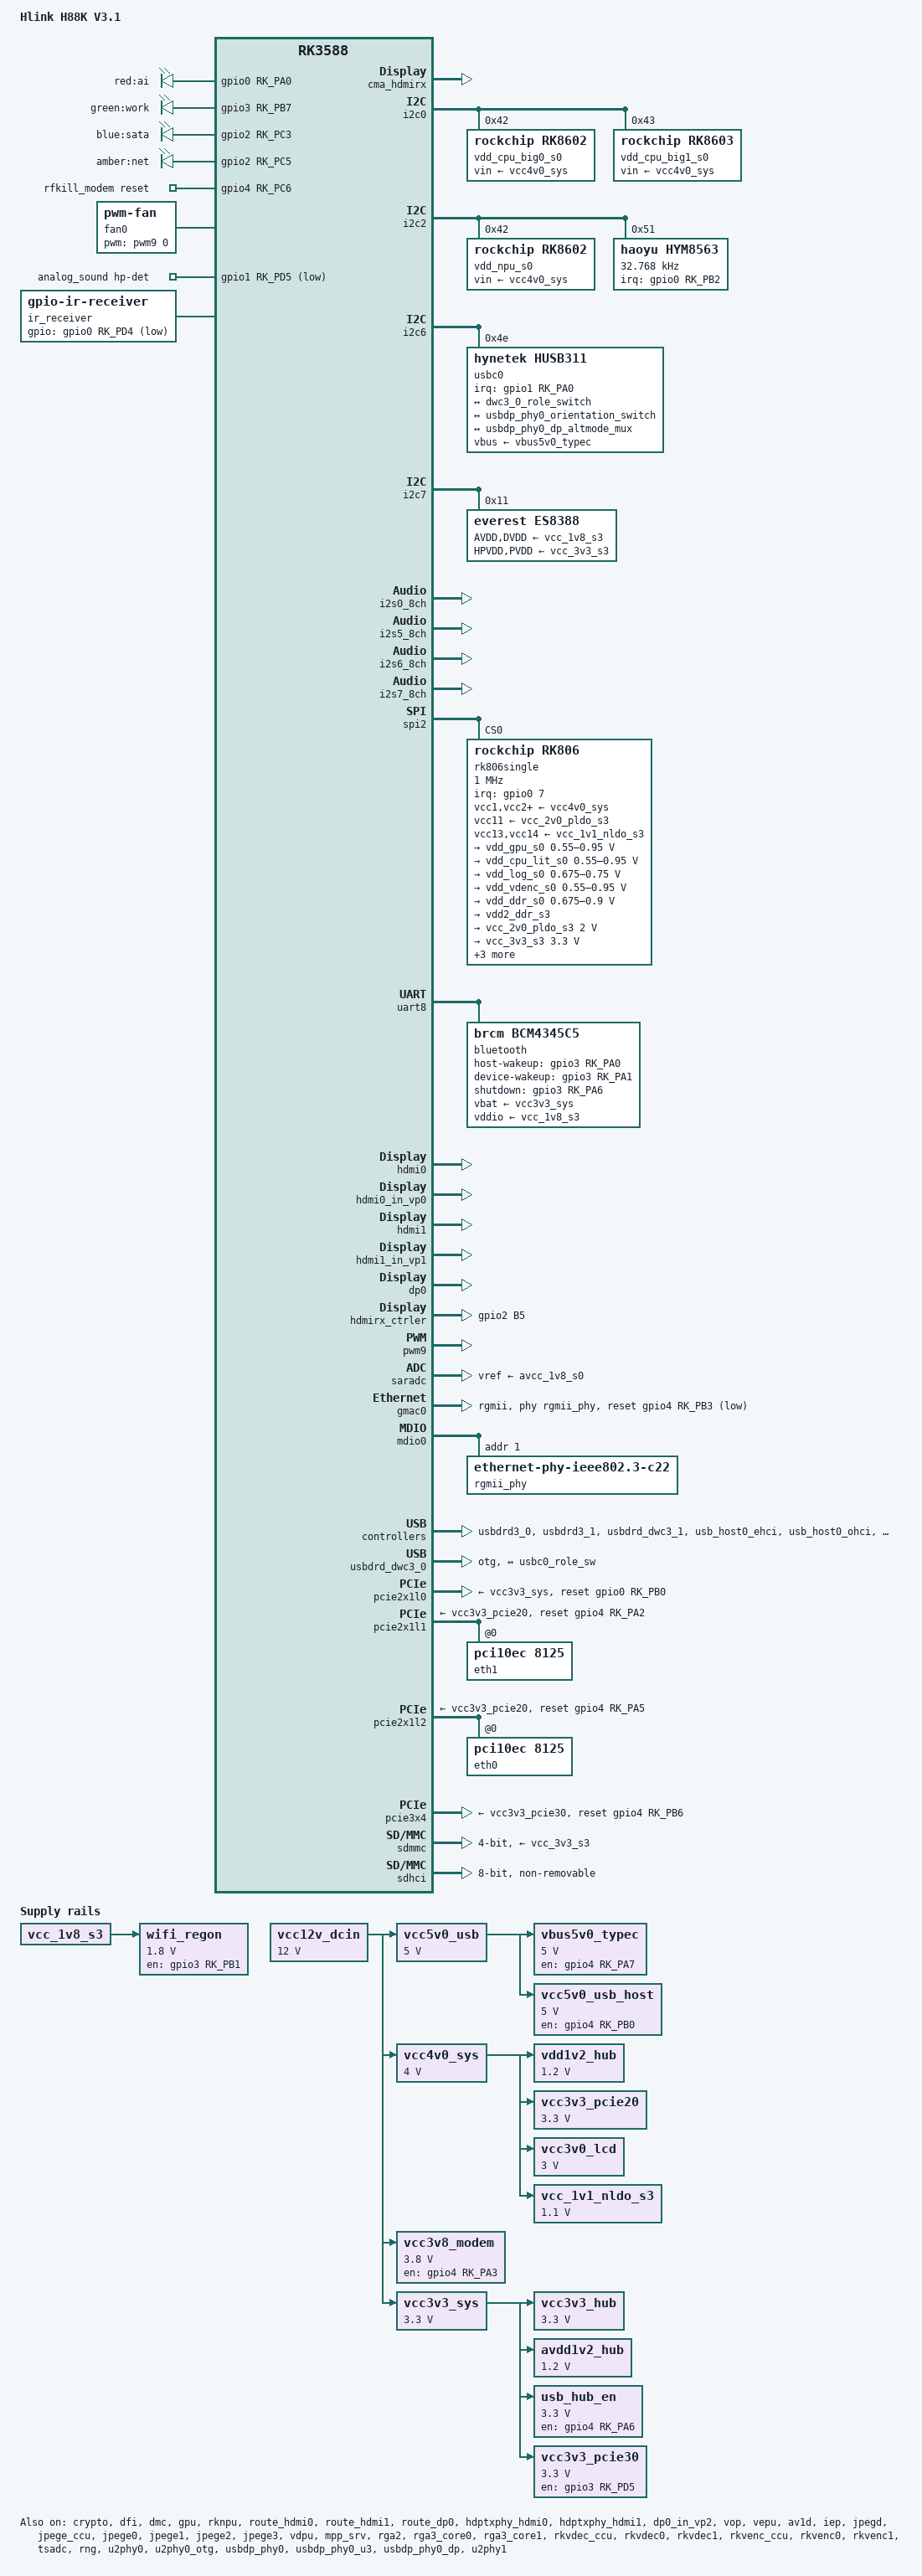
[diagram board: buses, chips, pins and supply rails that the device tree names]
// SPDX-License-Identifier: (GPL-2.0+ OR MIT)
// Copyright (c) 2024 Flippy <flippy@sina.com>

/dts-v1/;

#include <dt-bindings/gpio/gpio.h>
#include <dt-bindings/pinctrl/rockchip.h>
#include <dt-bindings/input/rk-input.h>
#include <dt-bindings/pwm/pwm.h>
#include <dt-bindings/display/drm_mipi_dsi.h>
#include <dt-bindings/display/rockchip_vop.h>
#include <dt-bindings/sensor-dev.h>
#include <dt-bindings/leds/common.h>
#include "dt-bindings/usb/pd.h"
#include "rk3588.dtsi"
#include "rk3588-gpio-line-names.dtsi"

/ {
	model = "Hlink H88K V3.1";
	compatible = "hlink,h88k-v31", "hlink,h88k-v3", "rockchip,rk3588";

	aliases {
		mmc0 = &sdmmc;
		mmc1 = &sdhci;
		mmc2 = &sdio;
		rtc0 = &hym8563;
	};

	cspmu: cspmu@fd10c000 {
		compatible = "rockchip,cspmu";
		reg = <0x0 0xfd10c000 0x0 0x1000>,
		      <0x0 0xfd10d000 0x0 0x1000>,
		      <0x0 0xfd10e000 0x0 0x1000>,
		      <0x0 0xfd10f000 0x0 0x1000>,
		      <0x0 0xfd12c000 0x0 0x1000>,
		      <0x0 0xfd12d000 0x0 0x1000>,
		      <0x0 0xfd12e000 0x0 0x1000>,
		      <0x0 0xfd12f000 0x0 0x1000>;
	};

	debug: debug@fd104000 {
		compatible = "rockchip,debug";
		reg = <0x0 0xfd104000 0x0 0x1000>,
		      <0x0 0xfd105000 0x0 0x1000>,
		      <0x0 0xfd106000 0x0 0x1000>,
		      <0x0 0xfd107000 0x0 0x1000>,
		      <0x0 0xfd124000 0x0 0x1000>,
		      <0x0 0xfd125000 0x0 0x1000>,
		      <0x0 0xfd126000 0x0 0x1000>,
		      <0x0 0xfd127000 0x0 0x1000>;
	};

	fiq_debugger: fiq-debugger {
		compatible = "rockchip,fiq-debugger";
		rockchip,serial-id = <2>;
		rockchip,wake-irq = <0>;
		/* If enable uart uses irq instead of fiq */
		rockchip,irq-mode-enable = <1>;
		rockchip,baudrate = <1500000>;  /* Only 115200 and 1500000 */
		interrupts = <GIC_SPI 423 IRQ_TYPE_LEVEL_LOW>;
		pinctrl-names = "default";
		pinctrl-0 = <&uart2m0_xfer>;
		status = "okay";
	};

	firmware: firmware {
		optee: optee {
			compatible = "linaro,optee-tz";
			method = "smc";
		};
	};

	gpio_leds: gpio-leds {
		compatible = "gpio-leds";
		pinctrl-names = "default";
		pinctrl-0 = <&led_red_ai_pin>,
		            <&led_green_work_pin>,
		            <&led_blue_sata_pin>,
		            <&led_amber_net_pin>;

		led_red_ai: led-red-ai {
			label = "red:ai";
			gpios = <&gpio0 RK_PA0 GPIO_ACTIVE_HIGH>;
		};

		led_green_work: led-green-work {
			label = "green:work";
			gpios = <&gpio3 RK_PB7 GPIO_ACTIVE_HIGH>;
			linux,default-trigger = "heartbeat";
		};

		led_blue_sata: led-blue-sata {
			label = "blue:sata";
			gpios = <&gpio2 RK_PC3 GPIO_ACTIVE_HIGH>;
		};

		led_amber_net: led-amber-net {
			label = "amber:net";
			gpios = <&gpio2 RK_PC5 GPIO_ACTIVE_HIGH>;
		};
	};

	reserved_memory: reserved-memory {
		#address-cells = <2>;
		#size-cells = <2>;
		ranges;

		cma: cma {
			compatible = "shared-dma-pool";
			reusable;
			size = <0x0 (256 * 0x100000)>;
			linux,cma-default;
		};

		drm_logo: drm-logo@00000000 {
			compatible = "rockchip,drm-logo";
			reg = <0x0 0x0 0x0 0x0>;
		};

		drm_cubic_lut: drm-cubic-lut@00000000 {
			compatible = "rockchip,drm-cubic-lut";
			reg = <0x0 0x0 0x0 0x0>;
		};

		ramoops: ramoops@110000 {
			compatible = "ramoops";
			reg = <0x0 0x110000 0x0 0xf0000>;
			record-size = <0x20000>;
			console-size = <0x80000>;
			ftrace-size = <0x00000>;
			pmsg-size = <0x50000>;
		};

		/* Reserve 256MB memory for hdmirx-controller@fdee0000
		 * remove the node if hdmirx is disabled 
		 */
		cma_hdmirx: cma-hdmirx {
			compatible = "shared-dma-pool";
			reusable;
			size = <0x0 (256 * 0x100000)>;
		};
	};

	rfkill_modem: rfkill-modem {
		compatible = "rfkill-gpio";
		name = "rfkill-modem";
		pinctrl-names = "default";
		pinctrl-0 = <&modem_reset_pin>;
		reset-gpios = <&gpio4 RK_PC6 GPIO_ACTIVE_HIGH>;
		type = "wwan";
	};

	/* dc-in or typec-in: maximum supported voltage: 22V */
	vcc12v_dcin: vcc12v-dcin {
		compatible = "regulator-fixed";
		regulator-name = "vcc12v_dcin";
		regulator-always-on;
		regulator-boot-on;
		regulator-min-microvolt = <12000000>;
		regulator-max-microvolt = <12000000>;
	};

	/* 5v0 usb: maximum load current 6A */
	vcc5v0_usb: vcc5v0-usb {
		compatible = "regulator-fixed";
		regulator-name = "vcc5v0_usb";
		regulator-always-on;
		regulator-boot-on;
		regulator-min-microvolt = <5000000>;
		regulator-max-microvolt = <5000000>;
		vin-supply = <&vcc12v_dcin>;
	};

	vbus5v0_typec: vbus5v0-typec {
		compatible = "regulator-fixed";
		regulator-name = "vbus5v0_typec";
		regulator-min-microvolt = <5000000>;
		regulator-max-microvolt = <5000000>;
		regulator-boot-on;
		enable-active-high;
		gpio = <&gpio4 RK_PA7 GPIO_ACTIVE_HIGH>;
		pinctrl-names = "default";
		pinctrl-0 = <&vbus5v0_typec_en>;
		vin-supply = <&vcc5v0_usb>;
	};

	vcc5v0_usb_host: vcc5v0-usb-host {
		compatible = "regulator-fixed";
		regulator-name = "vcc5v0_usb_host";
		regulator-min-microvolt = <5000000>;
		regulator-max-microvolt = <5000000>;
		enable-active-high;
		gpio = <&gpio4 RK_PB0 GPIO_ACTIVE_HIGH>;
		pinctrl-names = "default";
		pinctrl-0 = <&vcc5v0_usb_host_en>;
		vin-supply = <&vcc5v0_usb>;
	};

	/* 4v0 sys: maximum load current 6A */
	vcc4v0_sys: vcc4v0-sys {
		compatible = "regulator-fixed";
		regulator-name = "vcc4v0_sys";
		regulator-always-on;
		regulator-boot-on;
		regulator-min-microvolt = <4000000>;
		regulator-max-microvolt = <4000000>;
		startup-delay-us = <100000>;
		vin-supply = <&vcc12v_dcin>;
	};

	vcc3v8_modem: vcc3v8-modem {
		compatible = "regulator-fixed";
		enable-active-high;
		regulator-always-on;
		regulator-boot-on;
		gpios = <&gpio4 RK_PA3 GPIO_ACTIVE_HIGH>;
		regulator-min-microvolt = <3800000>;
		regulator-max-microvolt = <3800000>;
		regulator-name = "vcc3v8_modem";
		pinctrl-names = "default";
		pintctrl-0 = <&vcc3v8_modem_pwren>;
		vin-supply = <&vcc12v_dcin>;
	};

	/* 
	 * 3v3 sys:
	 * supply by dc in, but enabled by vcc4v0 sys
	 * maximum load current 6A
	 */
	vcc3v3_sys: vcc3v3-sys {
		compatible = "regulator-fixed";
		regulator-name = "vcc3v3_sys";
		regulator-always-on;
		regulator-boot-on;
		regulator-min-microvolt = <3300000>;
		regulator-max-microvolt = <3300000>;
		startup-delay-us = <100000>;
		vin-supply = <&vcc12v_dcin>;
	};

	/* 
	 * vcc3v3 hub
	 */
	vcc3v3_hub: vcc3v3-hub {
		compatible = "regulator-fixed";
		regulator-name = "vcc3v3_hub";
		regulator-always-on;
		regulator-boot-on;
		regulator-min-microvolt = <3300000>;
		regulator-max-microvolt = <3300000>;
		vin-supply = <&vcc3v3_sys>;
	};

	/*
	 * vdd1v2_hub:
	 * DC-DC 1.2V for GL3523 USB HUB
	 * maximum load current 0.6A
	 */
	vdd1v2_hub: vdd1v2-hub {
		compatible = "regulator-fixed";
		regulator-name = "vdd1v2_hub";
		regulator-always-on;
		regulator-boot-on;
		regulator-min-microvolt = <1200000>;
		regulator-max-microvolt = <1200000>;
		vin-supply = <&vcc4v0_sys>;
	};

	/* avdd1v2_hub:
	 * LDO 1.2V for GL3523 USB HUB
	 */
	avdd1v2_hub: avdd1v2-hub {
		compatible = "regulator-fixed";
		regulator-name = "avdd1v2_hub";
		regulator-always-on;
		regulator-boot-on;
		regulator-min-microvolt = <1200000>;
		regulator-max-microvolt = <1200000>;
		vin-supply = <&vcc3v3_sys>;
	};

	/* Actually, pull the reset pin of the USB hub high */
	usb_hub_en: usb-hub-en {
		compatible = "regulator-fixed";
		enable-active-high;
		pinctrl-names = "default";
		pintctrl-0 = <&usb_hub_rst_pin>;
		gpio = <&gpio4 RK_PA6 GPIO_ACTIVE_HIGH>;
		regulator-boot-on;
		regulator-always-on;
		regulator-min-microvolt = <3300000>;
		regulator-max-microvolt = <3300000>;
		regulator-name = "usb-hub-en";
		startup-delay-us = <50000>;
		vin-supply = <&vcc3v3_sys>;
	};

	vcc3v3_pcie20: vcc3v3-pcie20 {
		compatible = "regulator-fixed";
		regulator-name = "vcc3v3_pcie20";
		regulator-min-microvolt = <3300000>;
		regulator-max-microvolt = <3300000>;
		regulator-always-on;
		regulator-boot-on;
		vin-supply = <&vcc4v0_sys>;
	};

	vcc3v3_pcie30: vcc3v3-pcie30 {
		compatible = "regulator-fixed";
		regulator-name = "vcc3v3_pcie30";
		regulator-min-microvolt = <3300000>;
		regulator-max-microvolt = <3300000>;
		enable-active-high;
		gpios = <&gpio3 RK_PD5 GPIO_ACTIVE_HIGH>;
		startup-delay-us = <100000>;
		vin-supply = <&vcc3v3_sys>;
	};

	vcc3v0_lcd: vcc3v0-lcd {
		compatible = "regulator-fixed";
		regulator-name = "vcc3v0_lcd";
		regulator-always-on;
		regulator-boot-on;
		regulator-min-microvolt = <3000000>;
		regulator-max-microvolt = <3000000>;
		vin-supply = <&vcc4v0_sys>;
	};

	vcc_1v1_nldo_s3: vcc-1v1-nldo-s3 {
		compatible = "regulator-fixed";
		regulator-name = "vcc_1v1_nldo_s3";
		regulator-always-on;
		regulator-boot-on;
		regulator-min-microvolt = <1100000>;
		regulator-max-microvolt = <1100000>;
		vin-supply = <&vcc4v0_sys>;
	};

	/* wifi regon support some wifi modules like rtl8723be */
	wifi_regon: wifi-regon {
		compatible = "regulator-fixed";
		enable-active-high;
		gpio = <&gpio3 RK_PB1 GPIO_ACTIVE_HIGH>;
		regulator-boot-on;
		regulator-always-on;
		regulator-min-microvolt = <1800000>;
		regulator-max-microvolt = <1800000>;
		regulator-name = "wifi_regon";
		startup-delay-us = <5000>;
		vin-supply = <&vcc_1v8_s3>;
	};

	fan0: pwm-fan {
		compatible = "pwm-fan";
		#cooling-cells = <2>;
		cooling-levels = <0 64 128 192 255>;
		pwms = <&pwm9 0 50000 0>;
	};

	analog_sound: analog-sound {
		status = "okay";
		compatible = "simple-audio-card";
		pinctrl-names = "default";
		pinctrl-0 = <&hp_detect>;
		simple-audio-card,bitclock-master = <&masterdai>;
		simple-audio-card,format = "i2s";
		simple-audio-card,frame-master = <&masterdai>;
		simple-audio-card,hp-det-gpio = <&gpio1 RK_PD5 GPIO_ACTIVE_LOW>;
		simple-audio-card,mclk-fs = <256>;
		simple-audio-card,name = "audio-analog";
		simple-audio-card,pin-switches = "Headphones";
		simple-audio-card,widgets =
			"Microphone", "Microphone Jack",
			"Headphone", "Headphones";

		simple-audio-card,cpu {
			sound-dai = <&i2s0_8ch>;
		};

		masterdai: simple-audio-card,codec {
			sound-dai = <&es8388>;
			system-clock-frequency = <12288000>;
		};
	};

	hdmi0_sound: hdmi0-sound {
		status = "okay";
		compatible = "rockchip,hdmi";
		rockchip,mclk-fs = <128>;
		rockchip,card-name = "audio-hdmi0";
		rockchip,cpu = <&i2s5_8ch>;
		rockchip,codec = <&hdmi0>;
		rockchip,jack-det;
	};

	hdmi1_sound: hdmi1-sound {
		status = "okay";
		compatible = "rockchip,hdmi";
		rockchip,mclk-fs = <128>;
		rockchip,card-name = "audio-hdmi1";
		rockchip,cpu = <&i2s6_8ch>;
		rockchip,codec = <&hdmi1>;
		rockchip,jack-det;
	};

	dp0_sound: dp0-sound {
		status = "okay";
		compatible = "rockchip,hdmi";
		rockchip,card-name= "audio-dp0";
		rockchip,mclk-fs = <512>;
		rockchip,cpu = <&spdif_tx2>;
		rockchip,codec = <&dp0 1>;
		rockchip,jack-det;
	};

	hdmiin_sound: hdmiin-sound {
		compatible = "rockchip,hdmi";
		rockchip,mclk-fs = <128>;
		rockchip,format = "i2s";
		rockchip,bitclock-master = <&hdmirx_ctrler>;
		rockchip,frame-master = <&hdmirx_ctrler>;
		rockchip,card-name = "audio-hdmiin";
		rockchip,cpu = <&i2s7_8ch>;
		rockchip,codec = <&hdmirx_ctrler 0>;
		rockchip,jack-det;
	};

	ir_receiver: ir-receiver {
		compatible = "gpio-ir-receiver";
		gpios = <&gpio0 RK_PD4 GPIO_ACTIVE_LOW>;
		pinctrl-0 = <&ir_int_pin>;
		pinctrl-names = "default";
	};
};

&cpu_l0 {
	cpu-supply = <&vdd_cpu_lit_s0>;
	mem-supply = <&vdd_cpu_lit_mem_s0>;
};

&cpu_b0 {
	cpu-supply = <&vdd_cpu_big0_s0>;
	mem-supply = <&vdd_cpu_big0_mem_s0>;
};

&cpu_b2 {
	cpu-supply = <&vdd_cpu_big1_s0>;
	mem-supply = <&vdd_cpu_big1_mem_s0>;
};

&crypto {
	status = "okay";
};

&dfi {
	status = "okay";
};

&dmc {
	center-supply = <&vdd_ddr_s0>;
	mem-supply = <&vdd_log_s0>;
	status = "okay";
};

&gpu {
	mali-supply = <&vdd_gpu_s0>;
	mem-supply = <&vdd_gpu_mem_s0>;
	status = "okay";
};

&rknpu {
	rknpu-supply = <&vdd_npu_s0>;
	mem-supply = <&vdd_npu_mem_s0>;
	status = "okay";
};

&rknpu_mmu {
	status = "okay";
};

&i2c0 {
	pinctrl-names = "default";
	pinctrl-0 = <&i2c0m2_xfer>;
	status = "okay";

	vdd_cpu_big0_s0: vdd_cpu_big0_mem_s0: rk8602@42 {
		compatible = "rockchip,rk8602";
		reg = <0x42>;
		regulator-always-on;
		regulator-boot-on;
		regulator-compatible = "rk860x-reg";
		regulator-min-microvolt = <550000>;
		regulator-max-microvolt = <1050000>;
		regulator-name = "vdd_cpu_big0_s0";
		regulator-ramp-delay = <2300>;
		rockchip,suspend-voltage-selector = <1>;
		vin-supply = <&vcc4v0_sys>;

		regulator-state-mem {
			regulator-off-in-suspend;
		};
	};

	vdd_cpu_big1_s0: vdd_cpu_big1_mem_s0: rk8603@43 {
		compatible = "rockchip,rk8603";
		reg = <0x43>;
		regulator-always-on;
		regulator-boot-on;
		regulator-compatible = "rk860x-reg";
		regulator-min-microvolt = <550000>;
		regulator-max-microvolt = <1050000>;
		regulator-name = "vdd_cpu_big1_s0";
		regulator-ramp-delay = <2300>;
		rockchip,suspend-voltage-selector = <1>;
		vin-supply = <&vcc4v0_sys>;

		regulator-state-mem {
			regulator-off-in-suspend;
		};
	};
};

&i2c2 {
	status = "okay";

	vdd_npu_s0: vdd_npu_mem_s0: rk8602@42 {
		compatible = "rockchip,rk8602";
		reg = <0x42>;
		regulator-always-on;
		regulator-boot-on;
		regulator-compatible = "rk860x-reg";
		regulator-min-microvolt = <550000>;
		regulator-max-microvolt = <950000>;
		regulator-name = "vdd_npu_s0";
		regulator-ramp-delay = <2300>;
		rockchip,suspend-voltage-selector = <1>;
		vin-supply = <&vcc4v0_sys>;

		regulator-state-mem {
			regulator-off-in-suspend;
		};
	};

	hym8563: hym8563@51 {
		compatible = "haoyu,hym8563";
		reg = <0x51>;
		#clock-cells = <0>;
		clock-frequency = <32768>;
		clock-output-names = "hym8563";
		interrupt-parent = <&gpio0>;
		interrupts = <RK_PB2 IRQ_TYPE_LEVEL_LOW>;
		pinctrl-names = "default";
		pinctrl-0 = <&rtc_int>;
		wakeup-source;
	};
};

&i2c6 {
	status = "okay";

	usbc0: husb311@4e {
		status = "okay";
		compatible = "hynetek,husb311";
		reg = <0x4e>;
		interrupt-parent = <&gpio1>;
		interrupts = <RK_PA0 IRQ_TYPE_LEVEL_LOW>;
		pinctrl-names = "default";
		pinctrl-0 = <&usbc0_int>;
		vbus-supply = <&vbus5v0_typec>;

		ports {
			#address-cells = <1>;
			#size-cells = <0>;

			port@0 {
				reg = <0>;
				usbc0_role_sw: endpoint@0 {
					remote-endpoint = <&dwc3_0_role_switch>;
				};
			};
		};

		usb_con: connector {
			compatible = "usb-c-connector";
			label = "USB-C";
			data-role = "dual";
			power-role = "dual";
			try-power-role = "sink";
			op-sink-microwatt = <1000000>;
			sink-pdos =
				<PDO_FIXED(5000, 3000, PDO_FIXED_USB_COMM)>;
			source-pdos =
				<PDO_FIXED(5000, 3000, PDO_FIXED_USB_COMM)>;

			altmodes {
				#address-cells = <1>;
				#size-cells = <0>;

				altmode@0 {
					reg = <0>;
					svid = <0xff01>;
					vdo = <0xffffffff>;
				};
			};

			ports {
				#address-cells = <1>;
				#size-cells = <0>;

				port@0 {
					reg = <0>;
					usbc0_orien_sw: endpoint {
						remote-endpoint = <&usbdp_phy0_orientation_switch>;
					};
				};

				port@1 {
					reg = <1>;
					dp_altmode_mux: endpoint {
						remote-endpoint = <&usbdp_phy0_dp_altmode_mux>;
					};
				};
			};
		};
	};
};

&i2c7 {
	status = "okay";

	es8388: audio-codec@11 {
		compatible = "everest,es8388";
		reg = <0x11>;
		clocks = <&cru I2S0_8CH_MCLKOUT>;
		assigned-clocks = <&cru I2S0_8CH_MCLKOUT>;
		assigned-clock-rates = <12288000>;
		AVDD-supply = <&vcc_1v8_s3>;
		DVDD-supply = <&vcc_1v8_s3>;
		HPVDD-supply = <&vcc_3v3_s3>;
		PVDD-supply = <&vcc_3v3_s3>;
		#sound-dai-cells = <0>;
	};
};

&i2s0_8ch {
	pinctrl-names = "default";
	pinctrl-0 = <&i2s0_lrck
		     &i2s0_mclk
		     &i2s0_sclk
		     &i2s0_sdi0
		     &i2s0_sdo0>;
	rockchip,playback-channels = <2>;
	rockchip,capture-channels = <2>;
	#sound-dai-cells = <0>;
	status = "okay";
};

&i2s5_8ch {
	status = "okay";
};

&i2s6_8ch {
	status = "okay";
};

&i2s7_8ch {
	status = "okay";
};

&spi2 {
	status = "okay";
	assigned-clocks = <&cru CLK_SPI2>;
	assigned-clock-rates = <200000000>;
	pinctrl-names = "default";
	pinctrl-0 = <&spi2m2_cs0 &spi2m2_pins>;
	num-cs = <1>;

	rk806single: rk806single@0 {
		compatible = "rockchip,rk806";
		spi-max-frequency = <1000000>;
		reg = <0x0>;

		interrupt-parent = <&gpio0>;
		interrupts = <7 IRQ_TYPE_LEVEL_LOW>;

		pinctrl-names = "default", "pmic-power-off";
		pinctrl-0 = <&pmic_pins>, <&rk806_dvs1_null>, <&rk806_dvs2_null>, <&rk806_dvs3_null>;
		pinctrl-1 = <&rk806_dvs1_pwrdn>;

		/* 2800mv-3500mv */
		low_voltage_threshold = <3000>;
		/* 2700mv-3400mv */
		shutdown_voltage_threshold = <2700>;
		/* 140 160 */
		shutdown_temperture_threshold = <160>;
		hotdie_temperture_threshold = <115>;

		/* 0: restart PMU;
		 * 1: reset all the power off reset registers,
		 *    forcing the state to switch to ACTIVE mode;
		 * 2: Reset all the power off reset registers,
		 *    forcing the state to switch to ACTIVE mode,
		 *    and simultaneously pull down the RESETB PIN for 5mS before releasing
		 */
		pmic-reset-func = <1>;

		vcc1-supply = <&vcc4v0_sys>;
		vcc2-supply = <&vcc4v0_sys>;
		vcc3-supply = <&vcc4v0_sys>;
		vcc4-supply = <&vcc4v0_sys>;
		vcc5-supply = <&vcc4v0_sys>;
		vcc6-supply = <&vcc4v0_sys>;
		vcc7-supply = <&vcc4v0_sys>;
		vcc8-supply = <&vcc4v0_sys>;
		vcc9-supply = <&vcc4v0_sys>;
		vcc10-supply = <&vcc4v0_sys>;
		vcc11-supply = <&vcc_2v0_pldo_s3>;
		vcc12-supply = <&vcc4v0_sys>;
		vcc13-supply = <&vcc_1v1_nldo_s3>;
		vcc14-supply = <&vcc_1v1_nldo_s3>;
		vcca-supply = <&vcc4v0_sys>;

		pwrkey {
			status = "okay";
		};

		pinctrl_rk806: pinctrl_rk806 {
			gpio-controller;
			#gpio-cells = <2>;

			rk806_dvs1_null: rk806_dvs1_null {
				pins = "gpio_pwrctrl1";
				function = "pin_fun0";
			};

			rk806_dvs1_slp: rk806_dvs1_slp {
				pins = "gpio_pwrctrl1";
				function = "pin_fun1";
			};

			rk806_dvs1_pwrdn: rk806_dvs1_pwrdn {
				pins = "gpio_pwrctrl1";
				function = "pin_fun2";
			};

			rk806_dvs1_rst: rk806_dvs1_rst {
				pins = "gpio_pwrctrl1";
				function = "pin_fun3";
			};

			rk806_dvs2_null: rk806_dvs2_null {
				pins = "gpio_pwrctrl2";
				function = "pin_fun0";
			};

			rk806_dvs2_slp: rk806_dvs2_slp {
				pins = "gpio_pwrctrl2";
				function = "pin_fun1";
			};

			rk806_dvs2_pwrdn: rk806_dvs2_pwrdn {
				pins = "gpio_pwrctrl2";
				function = "pin_fun2";
			};

			rk806_dvs2_rst: rk806_dvs2_rst {
				pins = "gpio_pwrctrl2";
				function = "pin_fun3";
			};

			rk806_dvs2_dvs: rk806_dvs2_dvs {
				pins = "gpio_pwrctrl2";
				function = "pin_fun4";
			};

			rk806_dvs2_gpio: rk806_dvs2_gpio {
				pins = "gpio_pwrctrl2";
				function = "pin_fun5";
			};

			rk806_dvs3_null: rk806_dvs3_null {
				pins = "gpio_pwrctrl3";
				function = "pin_fun0";
			};

			rk806_dvs3_slp: rk806_dvs3_slp {
				pins = "gpio_pwrctrl3";
				function = "pin_fun1";
			};

			rk806_dvs3_pwrdn: rk806_dvs3_pwrdn {
				pins = "gpio_pwrctrl3";
				function = "pin_fun2";
			};

			rk806_dvs3_rst: rk806_dvs3_rst {
				pins = "gpio_pwrctrl3";
				function = "pin_fun3";
			};

			rk806_dvs3_dvs: rk806_dvs3_dvs {
				pins = "gpio_pwrctrl3";
				function = "pin_fun4";
			};

			rk806_dvs3_gpio: rk806_dvs3_gpio {
				pins = "gpio_pwrctrl3";
				function = "pin_fun5";
			};
		};

		regulators {
			vdd_gpu_s0: vdd_gpu_mem_s0: DCDC_REG1 {
				regulator-boot-on;
				regulator-min-microvolt = <550000>;
				regulator-max-microvolt = <950000>;
				regulator-ramp-delay = <12500>;
				regulator-name = "vdd_gpu_s0";
				regulator-enable-ramp-delay = <400>;
				regulator-state-mem {
					regulator-off-in-suspend;
				};
			};

			vdd_cpu_lit_s0: vdd_cpu_lit_mem_s0: DCDC_REG2 {
				regulator-always-on;
				regulator-boot-on;
				regulator-min-microvolt = <550000>;
				regulator-max-microvolt = <950000>;
				regulator-ramp-delay = <12500>;
				regulator-name = "vdd_cpu_lit_s0";
				regulator-state-mem {
					regulator-off-in-suspend;
				};
			};

			vdd_log_s0: DCDC_REG3 {
				regulator-always-on;
				regulator-boot-on;
				regulator-min-microvolt = <675000>;
				regulator-max-microvolt = <750000>;
				regulator-ramp-delay = <12500>;
				regulator-name = "vdd_log_s0";
				regulator-state-mem {
					//regulator-off-in-suspend;
					regulator-on-in-suspend;
					regulator-suspend-microvolt = <750000>;
				};
			};

			vdd_vdenc_s0: vdd_vdenc_mem_s0: DCDC_REG4 {
				regulator-always-on;
				regulator-boot-on;
				regulator-min-microvolt = <550000>;
				regulator-max-microvolt = <950000>;
				regulator-init-microvolt = <750000>;
				regulator-ramp-delay = <12500>;
				regulator-name = "vdd_vdenc_s0";
				regulator-state-mem {
					regulator-off-in-suspend;
				};
			};

			vdd_ddr_s0: DCDC_REG5 {
				regulator-always-on;
				regulator-boot-on;
				regulator-min-microvolt = <675000>;
				regulator-max-microvolt = <900000>;
				regulator-ramp-delay = <12500>;
				regulator-name = "vdd_ddr_s0";
				regulator-state-mem {
					regulator-off-in-suspend;
					regulator-suspend-microvolt = <850000>;
				};
			};

			vdd2_ddr_s3: DCDC_REG6 {
				regulator-always-on;
				regulator-boot-on;
				regulator-name = "vdd2_ddr_s3";
				regulator-state-mem {
					regulator-on-in-suspend;
				};
			};

			vcc_2v0_pldo_s3: DCDC_REG7 {
				regulator-always-on;
				regulator-boot-on;
				regulator-min-microvolt = <2000000>;
				regulator-max-microvolt = <2000000>;
				regulator-name = "vdd_2v0_pldo_s3";
				regulator-state-mem {
					regulator-on-in-suspend;
					regulator-suspend-microvolt = <2000000>;
				};
			};

			vcc_3v3_s3: DCDC_REG8 {
				regulator-always-on;
				regulator-boot-on;
				regulator-min-microvolt = <3300000>;
				regulator-max-microvolt = <3300000>;
				regulator-name = "vcc_3v3_s3";
				regulator-state-mem {
					regulator-on-in-suspend;
					regulator-suspend-microvolt = <3300000>;
				};
			};

			vddq_ddr_s0: DCDC_REG9 {
				regulator-always-on;
				regulator-boot-on;
				regulator-name = "vddq_ddr_s0";
				regulator-state-mem {
					regulator-off-in-suspend;
				};
			};

			vcc_1v8_s3: DCDC_REG10 {
				regulator-always-on;
				regulator-boot-on;
				regulator-min-microvolt = <1800000>;
				regulator-max-microvolt = <1800000>;
				regulator-name = "vcc_1v8_s3";
				regulator-state-mem {
					regulator-on-in-suspend;
					regulator-suspend-microvolt = <1800000>;
				};
			};

			avcc_1v8_s0: PLDO_REG1 {
				regulator-always-on;
				regulator-boot-on;
				regulator-min-microvolt = <1800000>;
				regulator-max-microvolt = <1800000>;
				regulator-name = "avcc_1v8_s0";
				regulator-state-mem {
					//regulator-off-in-suspend;
					regulator-on-in-suspend;
					regulator-suspend-microvolt = <1800000>;
				};
			};

			vcc_1v8_s0: PLDO_REG2 {
				regulator-always-on;
				regulator-boot-on;
				regulator-min-microvolt = <1800000>;
				regulator-max-microvolt = <1800000>;
				regulator-name = "vcc_1v8_s0";
				regulator-state-mem {
					//regulator-off-in-suspend;
					regulator-on-in-suspend;
					regulator-suspend-microvolt = <1800000>;
				};
			};

			avdd_1v2_s0: PLDO_REG3 {
				regulator-always-on;
				regulator-boot-on;
				regulator-min-microvolt = <1200000>;
				regulator-max-microvolt = <1200000>;
				regulator-name = "avdd_1v2_s0";
				regulator-state-mem {
					regulator-off-in-suspend;
				};
			};

			vcc_3v3_s0: PLDO_REG4 {
				regulator-always-on;
				regulator-boot-on;
				regulator-min-microvolt = <3300000>;
				regulator-max-microvolt = <3300000>;
				regulator-name = "vcc_3v3_s0";
				regulator-state-mem {
					//regulator-off-in-suspend;
					regulator-on-in-suspend;
					regulator-suspend-microvolt = <3300000>;
				};
			};

			vccio_sd_s0: PLDO_REG5 {
				regulator-always-on;
				regulator-boot-on;
				regulator-min-microvolt = <1800000>;
				regulator-max-microvolt = <3300000>;
				regulator-name = "vccio_sd_s0";
				regulator-state-mem {
					regulator-off-in-suspend;
				};
			};

			pldo6_s3: PLDO_REG6 {
				regulator-always-on;
				regulator-boot-on;
				regulator-min-microvolt = <1800000>;
				regulator-max-microvolt = <1800000>;
				regulator-name = "pldo6_s3";
				regulator-state-mem {
					regulator-on-in-suspend;
					regulator-suspend-microvolt = <1800000>;
				};
			};

			vdd_0v75_s3: NLDO_REG1 {
				regulator-always-on;
				regulator-boot-on;
				regulator-min-microvolt = <750000>;
				regulator-max-microvolt = <750000>;
				regulator-name = "vdd_0v75_s3";
				regulator-state-mem {
					regulator-on-in-suspend;
					regulator-suspend-microvolt = <750000>;
				};
			};

			vdd_ddr_pll_s0: NLDO_REG2 {
				regulator-always-on;
				regulator-boot-on;
				regulator-min-microvolt = <850000>;
				regulator-max-microvolt = <850000>;
				regulator-name = "vdd_ddr_pll_s0";
				regulator-state-mem {
					//regulator-off-in-suspend;
					regulator-on-in-suspend;
					regulator-suspend-microvolt = <850000>;
				};
			};

			avdd_0v75_s0: NLDO_REG3 {
				regulator-always-on;
				regulator-boot-on;
				regulator-min-microvolt = <837500>;
				regulator-max-microvolt = <837500>;
				regulator-name = "avdd_0v75_s0";
				regulator-state-mem {
					//regulator-off-in-suspend;
					regulator-on-in-suspend;
					regulator-suspend-microvolt = <837500>;
				};
			};

			vdd_0v85_s0: NLDO_REG4 {
				regulator-always-on;
				regulator-boot-on;
				regulator-min-microvolt = <850000>;
				regulator-max-microvolt = <850000>;
				regulator-name = "vdd_0v85_s0";
				regulator-state-mem {
					regulator-off-in-suspend;
				};
			};

			vdd_0v75_s0: NLDO_REG5 {
				regulator-always-on;
				regulator-boot-on;
				regulator-min-microvolt = <750000>;
				regulator-max-microvolt = <750000>;
				regulator-name = "vdd_0v75_s0";
				regulator-state-mem {
					regulator-off-in-suspend;
				};
			};
		};
	};
};

/* LCD: ST7789 135x240 8PIN
 * DATA  gpio1 RK_PA1
 * CLK   gpio1 RK_PA2
 * CS    gpio1 RK_PA3
 * RESET gpio1 RK_PA4
 */
&spi4 {
	status = "disabled";
};

&uart8 {
	pinctrl-names = "default";
	pinctrl-0 = <&uart8m1_xfer &uart8m1_ctsn &uart8m1_rtsn>;
	status = "okay";

	bluetooth: bluetooth {
		compatible = "brcm,bcm4345c5";
		clocks = <&hym8563>;
		clock-names = "ext_clock";

		//BT_WAKE_HOST
		host-wakeup-gpios = <&gpio3 RK_PA0 GPIO_ACTIVE_HIGH>;

		//HOST_WAKE_BT
		device-wakeup-gpios = <&gpio3 RK_PA1 GPIO_ACTIVE_HIGH>;

		//BT_REG_ON_H
		shutdown-gpios = <&gpio3 RK_PA6 GPIO_ACTIVE_HIGH>;

		max-speed = <1500000>;
		pinctrl-names = "default";
		pinctrl-0 = <&bt_wake_host_h &host_wake_bt_h &bt_reg_on_h>;
		vbat-supply = <&vcc3v3_sys>;
		vddio-supply = <&vcc_1v8_s3>; 
	};
};

&display_subsystem {
	clocks = <&hdptxphy_hdmi_clk0>, <&hdptxphy_hdmi_clk1>;
	clock-names = "hdmi0_phy_pll", "hdmi1_phy_pll";
	memory-region = <&drm_logo>;
	memory-region-names = "drm-logo";
};

&route_hdmi0 {
	status = "okay";
	force-output;
	connect = <&vp0_out_hdmi0>;
};

&route_hdmi1 {
	status = "okay";
	force-output;
	connect = <&vp1_out_hdmi1>;
};

&route_dp0 {
	status = "okay";
	connect = <&vp2_out_dp0>;
};

&hdptxphy_hdmi_clk0 {
	status = "okay";
};

&hdptxphy_hdmi_clk1 {
	status = "okay";
};

&hdptxphy_hdmi0 {
	status = "okay";
};

&hdptxphy_hdmi1 {
	status = "okay";
};

&hdmi0 {
	cec-enable = "true";
	enable-gpios = <&gpio4 RK_PB1 GPIO_ACTIVE_HIGH>;
	status = "okay";
};

&hdmi0_in_vp0 {
	status = "okay";
};

&hdmi0_in_vp1 {
	status = "disabled";
};

&hdmi0_in_vp2 {
	status = "disabled";
};

&hdmi1 {
	cec-enable = "true";
	enable-gpios = <&gpio4 RK_PB2 GPIO_ACTIVE_HIGH>;
	pinctrl-names = "default";
	pinctrl-0 = <&hdmim2_tx1_cec &hdmim0_tx1_hpd &hdmim1_tx1_scl &hdmim1_tx1_sda>;
	status = "okay";
};

&hdmi1_in_vp0 {
	status = "disabled";
};

&hdmi1_in_vp1 {
	status = "okay";
};

&hdmi1_in_vp2 {
	status = "disabled";
};

&dp0 {
	status = "okay";
};

&dp0_in_vp0 {
	status = "disabled";
};

&dp0_in_vp1 {
	status = "disabled";
};

&dp0_in_vp2 {
	status = "okay";
};

&vop {
	status = "okay";
};

&vop_mmu {
	status = "okay";
};

&vepu {
	status = "okay";
};

/* vp0 & vp1 splice for 8K output */
&vp0 {
	rockchip,plane-mask = <(1 << ROCKCHIP_VOP2_CLUSTER0 | 1 << ROCKCHIP_VOP2_ESMART0)>;
	rockchip,primary-plane = <ROCKCHIP_VOP2_CLUSTER0>;
	cursor-win-id = <ROCKCHIP_VOP2_ESMART0>;
};

&vp1 {
	rockchip,plane-mask = <(1 << ROCKCHIP_VOP2_CLUSTER1 | 1 << ROCKCHIP_VOP2_ESMART1)>;
	rockchip,primary-plane = <ROCKCHIP_VOP2_CLUSTER1>;
	cursor-win-id = <ROCKCHIP_VOP2_ESMART1>;
};

&vp2 {
	rockchip,plane-mask = <(1 << ROCKCHIP_VOP2_CLUSTER2 | 1 << ROCKCHIP_VOP2_ESMART2)>;
	rockchip,primary-plane = <ROCKCHIP_VOP2_CLUSTER2>;
	cursor-win-id = <ROCKCHIP_VOP2_ESMART2>;
};

&vp3 {
	rockchip,plane-mask = <(1 << ROCKCHIP_VOP2_CLUSTER3 | 1 << ROCKCHIP_VOP2_ESMART3)>;
	rockchip,primary-plane = <ROCKCHIP_VOP2_CLUSTER3>;
	cursor-win-id = <ROCKCHIP_VOP2_ESMART3>;
};

/* Should work with at least 128MB cma reserved above. */
&hdmirx_ctrler {
	status = "okay";
	memory-region = <&cma_hdmirx>;

	#sound-dai-cells = <1>;
	/* Effective level used to trigger HPD: 0-low, 1-high */
	hpd-trigger-level = <1>;
	hdmirx-det-gpios = <&gpio2 RK_PB5 GPIO_ACTIVE_LOW>;
	pinctrl-names = "default";
	pinctrl-0 = <&hdmim1_rx_cec &hdmim1_rx_hpdin &hdmim1_rx_scl &hdmim1_rx_sda &hdmirx_det>;
};

&av1d {
	status = "okay";
};

&av1d_mmu {
	status = "okay";
};

&iep {
	status = "okay";
};

&iep_mmu {
	status = "okay";
};

&jpegd {
	status = "okay";
};

&jpegd_mmu {
	status = "okay";
};

&jpege_ccu {
	status = "okay";
};

&jpege0 {
	status = "okay";
};

&jpege0_mmu {
	status = "okay";
};

&jpege1 {
	status = "okay";
};

&jpege1_mmu {
	status = "okay";
};

&jpege2 {
	status = "okay";
};

&jpege2_mmu {
	status = "okay";
};

&jpege3 {
	status = "okay";
};

&jpege3_mmu {
	status = "okay";
};

&vdpu {
	status = "okay";
};

&vdpu_mmu {
	status = "okay";
};

&mpp_srv {
	status = "okay";
};

&rga2 {
	status = "okay";
};

&rga3_core0 {
	status = "okay";
};

&rga3_0_mmu {
	status = "okay";
};

&rga3_core1 {
	status = "okay";
};

&rga3_1_mmu {
	status = "okay";
};

&pwm9 {
	pinctrl-names = "active";
	pinctrl-0 = <&pwm9m0_pins>;
	status = "okay";
};

&threshold {
	temperature = <60000>;
};

&soc_thermal {
	sustainable-power = <5000>; /* milliwatts */

	cooling-maps {

		map3 {
			trip = <&target>;
			cooling-device =
				<&fan0 THERMAL_NO_LIMIT THERMAL_NO_LIMIT>;
			contribution = <8192>;
		};

		map4 {
			trip = <&threshold>;
			cooling-device =
				<&fan0 THERMAL_NO_LIMIT THERMAL_NO_LIMIT>;
			contribution = <8192>;
		};
	};
};

&rkvdec_ccu {
	status = "okay";
};

&rkvdec0 {
	status = "okay";
};

&rkvdec0_mmu {
	status = "okay";
};

&rkvdec1 {
	status = "okay";
};

&rkvdec1_mmu {
	status = "okay";
};

&rkvenc_ccu {
	status = "okay";
};

&rkvenc0 {
	status = "okay";
	venc-supply = <&vdd_vdenc_s0>;
	mem-supply = <&vdd_vdenc_s0>;
};

&rkvenc0_mmu {
	status = "okay";
};

&rkvenc1 {
	status = "okay";
	venc-supply = <&vdd_vdenc_s0>;
	mem-supply = <&vdd_vdenc_s0>;
};

&rkvenc1_mmu {
	status = "okay";
};

&saradc {
	status = "okay";
	vref-supply = <&avcc_1v8_s0>;
};

&tsadc {
	status = "okay";
};

&rockchip_suspend {
	compatible = "rockchip,pm-rk3588";
	status = "okay";
	rockchip,sleep-debug-en = <1>;
	rockchip,sleep-mode-config = <
		(0
		| RKPM_SLP_ARMOFF_DDRPD
		)
	>;
	rockchip,wakeup-config = <
		(0
		| RKPM_GPIO_WKUP_EN
		| RKPM_USB_WKUP_EN
		)
	>;
};

&rng {
	status = "okay";
};

&sfc {
	status = "disabled";
	max-freq = <50000000>;
	#address-cells = <1>;
	#size-cells = <0>;
	pinctrl-names = "default";
	pinctrl-0 = <&fspim2_pins>;

	spi_flash: spi-flash@0 {
		#address-cells = <1>;
		#size-cells = <0>;
		compatible = "jedec,spi-nor";
		reg = <0x0>;
		spi-max-frequency = <50000000>;
		spi-tx-bus-width = <1>;
		spi-rx-bus-width = <4>;
		status = "okay";

		partitions {
			compatible = "fixed-partitions";
			#address-cells = <1>;
			#size-cells = <1>;

			loader@0 {
				label = "loader";
				reg = <0x0 0x1000000>;
			};
		};
	};
};

/* gmac0: eth2 */
&gmac0 {
	status = "okay";
	label = "eth2";
	pinctrl-names = "default";
	pinctrl-0 = <&gmac0_miim
		     &gmac0_tx_bus2
		     &gmac0_rx_bus2
		     &gmac0_rgmii_clk
		     &gmac0_rgmii_bus>;

	phy-handle = <&rgmii_phy>;

	clock_in_out = "output";
	phy-mode = "rgmii";
	tx_delay = <0x3e>;
	rx_delay = <0x2f>;

	snps,reset-gpio = <&gpio4 RK_PB3 GPIO_ACTIVE_LOW>;
	snps,reset-active-low;
	/* Reset time is 20ms, 100ms for rtl8211f */
	snps,reset-delays-us = <0 20000 100000>;
};

&mdio0 {
	rgmii_phy: phy@1 {
		compatible = "ethernet-phy-ieee802.3-c22";
		reg = <0x1>;
	};
};

/* Begin of USB
 * TYPEC0 
 *   usbdrd3_0 + usbdrd_dwc3_0 
 *   u2phy0 + u2phy0_otg + usbdp_phy0 + usbdp_phy0_u3
 */
&usbdrd3_0 {
	status = "okay";
};

&usbdrd_dwc3_0 {
	status = "okay";
	dr_mode = "otg";
	extcon = <&u2phy0>;
	usb-role-switch;

	port {
		#address-cells = <1>;
		#size-cells = <0>;
		dwc3_0_role_switch: endpoint@0 {
			reg = <0>;
			remote-endpoint = <&usbc0_role_sw>;
		};
	};
};

&u2phy0 {
	status = "okay";
};

&u2phy0_otg {
	status = "okay";
	vbus-supply = <&vbus5v0_typec>;
	rockchip,typec-vbus-det;
};

&usbdp_phy0 {
	status = "okay";
	orientation-switch;

	rockchip,dp-lane-mux = < 2 3 >;

	svid = <0xff01>;
	sbu1-dc-gpios = <&gpio0 RK_PC6 GPIO_ACTIVE_HIGH>;
	sbu2-dc-gpios = <&gpio0 RK_PD3 GPIO_ACTIVE_HIGH>;

	port {
		#address-cells = <1>;
		#size-cells = <0>;
		usbdp_phy0_orientation_switch: endpoint@0 {
			reg = <0>;
			remote-endpoint = <&usbc0_orien_sw>;
		};

		usbdp_phy0_dp_altmode_mux: endpoint@1 {
			reg = <1>;
			remote-endpoint = <&dp_altmode_mux>;
		};
	};
};

&usbdp_phy0_u3 {
	status = "okay";
};

&usbdp_phy0_dp {
	status = "okay";
};

/* TYPEC1
 * usbdrd3_1 + usbdrd_dwc3_1
 * u2phy1 + u2phy1_otg + usbdp_phy1 + usbdp_phy1_u3
 */
&usbdrd3_1 {
	status = "okay";
};

/*
 * H88K V3.1: usbdrd_dwc3_1 connect to Genesys GL3523 HUB
 *   HUB port 1 used for M.2 (B Key) socket for 4G/5G modem
 *   HUB port 2-4 used for USB Type-A port 
 */
&usbdrd_dwc3_1 {
	status = "okay";
};

&u2phy1 {
	status = "okay";
};

&u2phy1_otg {
	phy-supply = <&vcc5v0_usb_host>;
	status = "okay";
};

&usbdp_phy1 {
	status = "okay";
};

&usbdp_phy1_u3 {
	status = "okay";
};

&usbdp_phy1_dp {
	status = "okay";
};

/* USB20_HOST0
 * usb_host0_ehci + usb_host0_ohci
 * u2phy2 + u2phy2_host
 */ 
&usb_host0_ehci {
	status = "okay";
};

&usb_host0_ohci {
	status = "okay";
};

&u2phy2 {
	status = "okay";
};

&u2phy2_host {
	status = "okay";
};

/* USB20_HOST1
 * usb_host1_ehci + usb_host1_ohci
 * u2phy3 + u2phy3_host
 */
&usb_host1_ehci {
	status = "okay";
};

&usb_host1_ohci {
	status = "okay";
};

&u2phy3 {
	status = "okay";
};

&u2phy3_host {
	status = "okay";
};

/*
 * pce2x1l0 or sata1 => combphy1_ps
 * H88K v3.1: pcie2x1l0 is M.2 (A+E Key) socket for WiFi/Bluetooth
 */
&combphy1_ps {
	status = "okay";
};

&pcie2x1l0 {
	reset-gpios = <&gpio0 RK_PB0 GPIO_ACTIVE_HIGH>;
	status = "okay";
	vpcie3v3-supply = <&vcc3v3_sys>;
};

&sata1 {
	status = "disabled";
}; 

/*
 * pcie2x1l1 or sata2 or usb30_2 => combphy2_psu
 * combphy2_psu: pcie2x1l1 or sata2 or (usbhost3_0 + usbhost_dwc3_0)
 * H88K V3.1: pcie2x1l1 used for rtl8125b
 */
&combphy2_psu {
	status = "okay";
};

&usbhost3_0 {
	status = "disabled";
};

&usbhost_dwc3_0 {
	status = "disabled";
};

/* rtl8125b: eth1 */
&pcie2x1l1 {
	reset-gpios = <&gpio4 RK_PA2 GPIO_ACTIVE_HIGH>;
	status = "okay";
	vpcie3v3-supply = <&vcc3v3_pcie20>;

	pcie@0,0 {
		reg = <0x00300000 0 0 0 0>;
		#address-cells = <3>;
		#size-cells = <2>;

		rtl8125_1: pcie-eth@0,0 {
			compatible = "pci10ec,8125";
			label = "eth1";
			reg = <0x000000 0 0 0 0>;

			/* G+ 3v3
			 * G- LED3: LINK on 100 + 1000 + 2500
			 * Y+ 3v3
			 * Y- LED2: ACT on all speed
			 */
			r8125,led2 = <0x0200>;
			r8125,led3 = <0x002a>;
		};
	};
};

&sata2 {
	status = "disabled";
}; 

/*
 * pcie2x1l2 or sata0 => combphy0_ps
 * H88K V3.1 : pcie2x1l2 used for rtl8125b
 */
&combphy0_ps {
	status = "okay";
};

/* rtl8125b eth0 */
&pcie2x1l2 {
	reset-gpios = <&gpio4 RK_PA5 GPIO_ACTIVE_HIGH>;
	status = "okay";
	vpcie3v3-supply = <&vcc3v3_pcie20>;

	pcie@0,0 {
		reg = <0x00400000 0 0 0 0>;
		#address-cells = <3>;
		#size-cells = <2>;

		rtl8125_2: pcie-eth@0,0 {
			compatible = "pci10ec,8125";
			label = "eth0";
			reg = <0x000000 0 0 0 0>;

			/* G+ 3v3
			 * G- LED3: LINK on 100 + 1000 + 2500
			 * Y+ 3v3
			 * Y- LED2: ACT on all speed
			 */
			r8125,led2 = <0x0200>;
			r8125,led3 = <0x002a>;
		};
	};
};

&sata0 {
	status = "disabled";
};

/*
 * pcie3x4 => pcie30phy
 * H88K v3.1: pcie3x4 is M.2 (M Key) socket for NVME ssd
 */
&pcie30phy {
	rockchip,pcie30-phymode = <PHY_MODE_PCIE_AGGREGATION>;
	status = "okay";
};

&pcie3x4 {
	reset-gpios = <&gpio4 RK_PB6 GPIO_ACTIVE_HIGH>;
	status = "okay";
	vpcie3v3-supply = <&vcc3v3_pcie30>;
};

/* TF CARD */
&sdmmc {
	max-frequency = <200000000>;
	sd-uhs-sdr104;
	bus-width = <4>;
	no-mmc;
	no-sdio;
	cap-mmc-highspeed;
	cap-sd-highspeed;
	disable-wp;
	vmmc-supply = <&vcc_3v3_s3>;
	vqmmc-supply = <&vccio_sd_s0>;
	pinctrl-names = "default";
	pinctrl-0 = <&sdmmc_bus4 &sdmmc_clk &sdmmc_cmd &sdmmc_det>;
	status = "okay";
};

/* EMMC */
&sdhci {
	max-frequency = <200000000>;
	bus-width = <8>;
	non-removable;
	no-sd;
	no-sdio;
	mmc-ddr-1_8v;
	mmc-hs200-1_8v;
	mmc-hs400-1_8v;
	mmc-hs400-enhanced-strobe;
	status = "okay";
};

&pinctrl {
	audio {
		hp_detect: headphone-detect {
			rockchip,pins = <1 RK_PD5 RK_FUNC_GPIO &pcfg_pull_none>;
		};
	};

	bt {
		bt_wake_host_h: bt-wake-host-h {
			rockchip,pins = <3 RK_PA0 RK_FUNC_GPIO &pcfg_pull_none>;
		};

		host_wake_bt_h: host-wake-bt-h {
			rockchip,pins = <3 RK_PA1 RK_FUNC_GPIO &pcfg_pull_none>;
		};

		bt_reg_on_h: bt-reg-on-h {
			rockchip,pins = <3 RK_PA6 RK_FUNC_GPIO &pcfg_pull_none>;
		};

	};

	hdmirx {
		hdmirx_det: hdmirx-det {
			rockchip,pins = <2 RK_PB5 RK_FUNC_GPIO &pcfg_pull_up>;
		};
	};

	ir {
		ir_int_pin: ir-int-pin {
			rockchip,pins = <0 RK_PD4 RK_FUNC_GPIO &pcfg_pull_up>;
		};
	};

	leds {
		led_red_ai_pin: led-red-ai-pin {
			rockchip,pins = <0 RK_PA0 RK_FUNC_GPIO &pcfg_pull_none>;
		};

		led_green_work_pin: led-green-work-pin {
			rockchip,pins = <3 RK_PB7 RK_FUNC_GPIO &pcfg_pull_none>;
		};

		led_blue_sata_pin: led-blue-sata-pin {
			rockchip,pins = <2 RK_PC3 RK_FUNC_GPIO &pcfg_pull_none>;
		};

		led_amber_net_pin: led-amber-net-pin {
			rockchip,pins = <2 RK_PC5 RK_FUNC_GPIO &pcfg_pull_none>;
		};
	};

	modem {
		vcc3v8_modem_pwren: vcc3v8-modem-pwren {
			rockchip,pins = <4 RK_PA3 RK_FUNC_GPIO &pcfg_pull_none>;
		};

		modem_reset_pin: modem-reset-pin {
			rockchip,pins = <4 RK_PC6 RK_FUNC_GPIO &pcfg_pull_down>;
		};
	};

	rtc {
		rtc_int: rtc-int {
			rockchip,pins = <0 RK_PB2 RK_FUNC_GPIO &pcfg_pull_none>;
		};
	};

	usb {
		usbc0_int: usbc0-int {
			rockchip,pins = <1 RK_PA0 RK_FUNC_GPIO &pcfg_pull_up>;
		};

		usb_hub_rst_pin: usb-hub-rst-pin {
			rockchip,pins = <4 RK_PA6 RK_FUNC_GPIO &pcfg_pull_none>;
		};

		vbus5v0_typec_en: vbus5v0-typec-en {
			rockchip,pins = <4 RK_PA7 RK_FUNC_GPIO &pcfg_pull_none>;
		};

		vcc5v0_usb_host_en: vcc5v0_usb_host_en {
			rockchip,pins = <4 RK_PB0 RK_FUNC_GPIO &pcfg_pull_none>;
		};
	};
};

&gpio0 {
	gpio-line-names =
		/* GPIO0_A0-A3 */
		"", "", "", "",
		/* GPIO0_A4-A7 */
		"", "", "", "",

		/* GPIO0_B0-B3 */
		"", "", "", "",
		/* GPIO0_B4-B7 */
		"", "PIN_8", "PIN_10", "",

		/* GPIO0_C0-C3 */
		"", "", "", "",
		/* GPIO0_C4-C7 */
		"", "", "", "",

		/* GPIO0_D0-D3 */
		"", "", "", "",
		/* GPIO0_D4-D7 */
		"", "", "", "";
};

&gpio1 {
	gpio-line-names =
		/* GPIO1_A0-A3 */
		"", "", "", "",
		/* GPIO1_A4-A7 */
		"", "", "", "",

		/* GPIO1_B0-B3 */
		"", "PIN_21", "PIN_19", "PIN_23",
		/* GPIO1_B4-B7 */
		"PIN_24", "PIN_26", "", "PIN_31",

		/* GPIO1_C0-C3 */
		"", "", "", "",
		/* GPIO1_C4-C7 */
		"", "", "", "",

		/* GPIO1_D0-D3 */
		"", "", "", "",
		/* GPIO1_D4-D7 */
		"", "", "", "PIN_29";
};

&gpio2 {
	gpio-line-names =
		/* GPIO2_A0-A3 */
		"", "", "", "",
		/* GPIO2_A4-A7 */
		"", "", "", "",

		/* GPIO2_B0-B3 */
		"", "", "", "",
		/* GPIO2_B4-B7 */
		"", "", "", "",

		/* GPIO2_C0-C3 */
		"", "", "", "",
		/* GPIO2_C4-C7 */
		"", "", "", "",

		/* GPIO2_D0-D3 */
		"", "", "", "",
		/* GPIO2_D4-D7 */
		"", "", "", "";
};

&gpio3 {
	gpio-line-names =
		/* GPIO3_A0-A3 */
		"", "", "", "",
		/* GPIO3_A4-A7 */
		"PIN_16", "", "", "PIN_33",

		/* GPIO3_B0-B3 */
		"", "PIN_36", "PIN_38", "PIN_40",
		/* GPIO3_B4-B7 */
		"", "PIN_12", "PIN_35", "PIN_13",

		/* GPIO3_C0-C3 */
		"PIN_15", "PIN_11", "PIN_32", "PIN_7",
		/* GPIO3_C4-C7 */
		"", "", "", "",

		/* GPIO3_D0-D3 */
		"", "", "", "",
		/* GPIO3_D4-D7 */
		"", "", "", "";
};

&gpio4 {
	gpio-line-names =
		/* GPIO4_A0-A3 */
		"", "", "", "",
		/* GPIO4_A4-A7 */
		"", "", "", "",

		/* GPIO4_B0-B3 */
		"", "", "PIN_5", "PIN_3",
		/* GPIO4_B4-B7 */
		"", "", "", "",

		/* GPIO4_C0-C3 */
		"", "", "", "",
		/* GPIO4_C4-C7 */
		"PIN_18", "PIN_28", "PIN_27", "",

		/* GPIO4_D0-D3 */
		"", "", "", "",
		/* GPIO4_D4-D7 */
		"", "", "", "";
};
